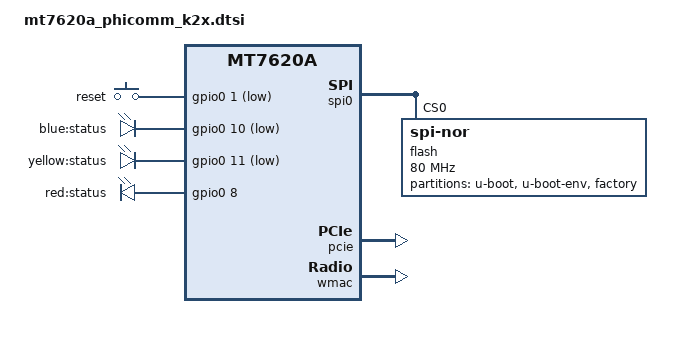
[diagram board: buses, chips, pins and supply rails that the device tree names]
#include "mt7620a.dtsi"

#include <dt-bindings/gpio/gpio.h>
#include <dt-bindings/input/input.h>

/ {
	aliases {
		led-boot = &led_blue;
		led-failsafe = &led_blue;
		led-running = &led_blue;
		led-upgrade = &led_blue;
	};

	keys {
		compatible = "gpio-keys";

		reset {
			label = "reset";
			gpios = <&gpio0 1 GPIO_ACTIVE_LOW>;
			linux,code = <KEY_RESTART>;
		};
	};

	leds {
		compatible = "gpio-leds";

		led_blue: blue {
			label = "blue:status";
			gpios = <&gpio0 10 GPIO_ACTIVE_LOW>;
			default-state = "on";
		};

		yellow {
			label = "yellow:status";
			gpios = <&gpio0 11 GPIO_ACTIVE_LOW>;
		};

		red {
			label = "red:status";
			gpios = <&gpio0 8 GPIO_ACTIVE_HIGH>;
		};
	};
};

&spi0 {
	status = "okay";

	flash@0 {
		compatible = "jedec,spi-nor";
		reg = <0>;
		spi-max-frequency = <80000000>;
		m25p,fast-read;

		partitions: partitions {
			compatible = "fixed-partitions";
			#address-cells = <1>;
			#size-cells = <1>;

			partition@0 {
				label = "u-boot";
				reg = <0x0 0x30000>;
				read-only;
			};

			partition@30000 {
				label = "u-boot-env";
				reg = <0x30000 0x10000>;
				read-only;
			};

			factory: partition@40000 {
				label = "factory";
				reg = <0x40000 0x10000>;
				read-only;
			};
		};
	};
};

&state_default {
	gpio {
		groups = "i2c", "uartf";
		function = "gpio";
	};
};

&pcie {
	status = "okay";
};

&pcie0 {
	mt76@0,0 {
		reg = <0x0000 0 0 0 0>;
		mediatek,mtd-eeprom = <&factory 0x8000>;
		ieee80211-freq-limit = <5000000 6000000>;
	};
};

&ethernet {
	nvmem-cells = <&macaddr_factory_28>;
	nvmem-cell-names = "mac-address";
};

&wmac {
	ralink,mtd-eeprom = <&factory 0x0>;
};

&factory {
	compatible = "nvmem-cells";
	#address-cells = <1>;
	#size-cells = <1>;

	macaddr_factory_28: macaddr@28 {
		reg = <0x28 0x6>;
	};
};
